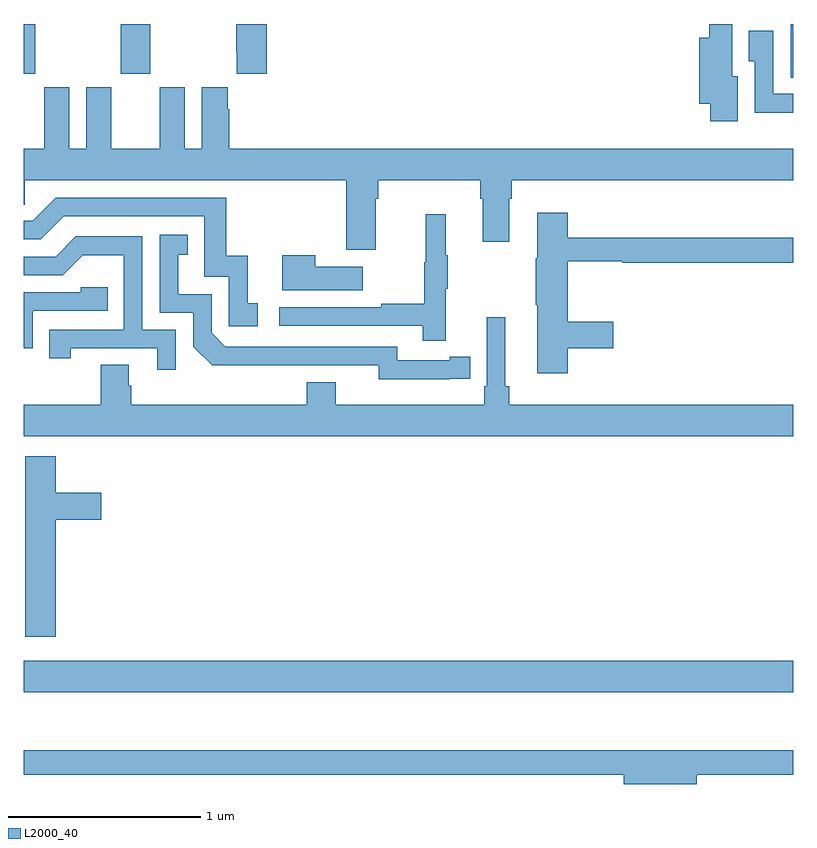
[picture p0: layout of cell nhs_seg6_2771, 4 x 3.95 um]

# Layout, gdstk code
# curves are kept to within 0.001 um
import gdstk
lib = gdstk.Library(unit=1e-6, precision=1e-09)
def R(c, l, rs):  # rectangles x0, y0, x1, y1
    for r in rs: c.add(gdstk.rectangle(r[:2], r[2:], *l))
def P(c, l, *ps):  # polygons
    for p in ps: c.add(gdstk.Polygon(p, *l))
L2000_40 = (2000, 40)

nhs_seg6_2771 = lib.new_cell('nhs_seg6_2771')
R(nhs_seg6_2771, L2000_40, [(275,926.024,279,926.188), (278.987,929.221,279,929.5), (275,929.241,275.058,929.5), (275.503,929.241,275.658,929.5)])
P(nhs_seg6_2771, L2000_40, [(278.713,929.227),(278.683,929.227),(278.683,929.5),(278.565,929.5),(278.565,929.428),(278.513,929.428),(278.513,929.084),(278.57,929.084),(278.57,928.995),(278.713,928.995)],
  [(276.263,929.5),(276.103,929.5),(276.103,929.353),(276.107,929.353),(276.107,929.241),(276.263,929.241)],
  [(279,929.136),(278.898,929.136),(278.898,929.464),(278.771,929.464),(278.771,929.305),(278.802,929.305),(278.802,929.039),(279,929.039)],
  [(276.829,928.592),(276.842,928.592),(276.842,928.688),(277.373,928.688),(277.373,928.592),(277.385,928.592),(277.385,928.368),(277.525,928.368),(277.525,928.592),(277.538,928.592),(277.538,928.688),(279,928.688),(279,928.852),(276.068,928.852),(276.068,929.057),(276.061,929.057),(276.061,929.17),(275.924,929.17),(275.924,928.852),(275.836,928.852),(275.836,929.17),(275.705,929.17),(275.705,928.852),(275.455,928.852),(275.455,929.17),(275.324,929.17),(275.324,928.852),(275.236,928.852),(275.236,929.17),(275.105,929.17),(275.105,928.852),(275,928.852),(275,928.561),(275.004,928.561),(275.004,928.688),(276.677,928.688),(276.677,928.326),(276.829,928.326)],
  [(276.217,928.047),(276.164,928.047),(276.164,928.294),(276.053,928.294),(276.053,928.596),(275.166,928.596),(275.046,928.476),(275,928.476),(275,928.38),(275.088,928.38),(275.208,928.5),(275.937,928.5),(275.937,928.185),(276.066,928.185),(276.066,927.927),(276.217,927.927)],
  [(277.829,927.814),(278.065,927.814),(278.065,927.951),(277.829,927.951),(277.829,928.266),(278.112,928.266),(278.112,928.258),(279,928.258),(279,928.387),(277.829,928.387),(277.829,928.519),(277.67,928.519),(277.67,928.281),(277.663,928.281),(277.663,928.039),(277.67,928.039),(277.67,927.684),(277.829,927.684)],
  [(277.193,928.123),(277.204,928.123),(277.204,928.297),(277.193,928.297),(277.193,928.51),(277.09,928.51),(277.09,928.26),(277.083,928.26),(277.083,928.046),(276.859,928.046),(276.859,928.026),(276.327,928.026),(276.327,927.93),(277.075,927.93),(277.075,927.852),(277.193,927.852)],
  [(277.214,927.654),(277.322,927.654),(277.322,927.77),(277.214,927.77),(277.214,927.75),(276.942,927.75),(276.942,927.822),(276.048,927.822),(275.976,927.894),(275.976,928.095),(275.803,928.095),(275.803,928.299),(275.852,928.299),(275.852,928.405),(275.706,928.405),(275.706,927.999),(275.88,927.999),(275.88,927.822),(275.978,927.725),(276.846,927.726),(276.846,927.653)],
  [(275.79,927.909),(275.616,927.909),(275.616,928.395),(275.27,928.395),(275.165,928.29),(275,928.29),(275,928.194),(275.202,928.194),(275.306,928.298),(275.52,928.298),(275.52,927.909),(275.131,927.909),(275.131,927.762),(275.242,927.762),(275.242,927.813),(275.693,927.813),(275.693,927.702),(275.79,927.702)],
  [(276.763,928.237),(276.515,928.237),(276.515,928.297),(276.344,928.297),(276.344,928.115),(276.763,928.115)],
  [(275.046,928.008),(275.435,928.008),(275.435,928.131),(275.295,928.131),(275.295,928.104),(275,928.104),(275,927.813),(275.046,927.813)],
  [(279,927.52),(277.523,927.52),(277.523,927.616),(277.504,927.616),(277.504,927.976),(277.407,927.976),(277.407,927.616),(277.394,927.616),(277.394,927.52),(276.622,927.52),(276.622,927.637),(276.47,927.637),(276.47,927.52),(275.558,927.52),(275.558,927.618),(275.545,927.618),(275.545,927.728),(275.398,927.728),(275.398,927.52),(275,927.52),(275,927.356),(279,927.356)],
  [(275.165,926.921),(275.401,926.921),(275.401,927.063),(275.165,927.063),(275.165,927.253),(275.006,927.253),(275.006,926.313),(275.165,926.313)],
  [(278.5,925.594),(279,925.594),(279,925.723),(275,925.723),(275,925.594),(278.12,925.594),(278.12,925.547),(278.5,925.547)])

lib.write_gds('nhs_seg6_2771.gds')
